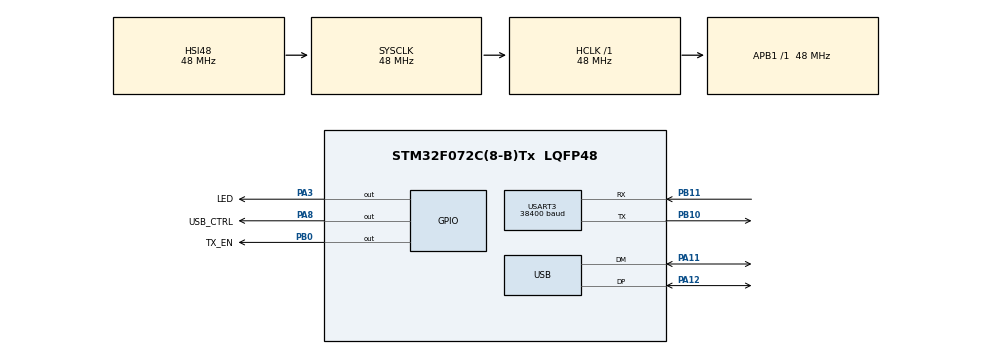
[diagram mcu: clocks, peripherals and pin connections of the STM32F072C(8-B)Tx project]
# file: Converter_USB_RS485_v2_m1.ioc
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Mcu.Family=STM32F0
USB_DEVICE.CLASS_NAME_FS=CDC
NVIC.USB_IRQn=true\:0\:0\:false\:false\:true\:false\:true
PB10.Mode=Asynchronous
USB_DEVICE.VirtualModeFS=Cdc_FS
USB_DEVICE.PID_CDC_FS=24853
PA11.Mode=Device
PB0.GPIO_Label=TX_EN
PB11.Signal=USART3_RX
RCC.SYSCLKSource=RCC_SYSCLKSOURCE_HSI48
ProjectManager.StackSize=0x400
USART3.VirtualMode-Asynchronous=VM_ASYNC
PA13.Signal=SYS_SWDIO
USB_DEVICE.MANUFACTURER_STRING=Forward
PA12.Signal=USB_DP
PA8.GPIO_Label=USB_CTRL
USART3.BaudRate=38400
PB11.Mode=Asynchronous
USB_DEVICE.VID=1003
ProjectManager.TargetToolchain=STM32CubeIDE
USB_DEVICE.PRODUCT_STRING_CDC_FS=Converter USB-RS485
NVIC.USART3_4_IRQn=true\:0\:0\:false\:false\:true\:true\:true
RCC.HCLKFreq_Value=48000000
VP_USB_DEVICE_VS_USB_DEVICE_CDC_FS.Mode=CDC_FS
RCC.AHBFreq_Value=48000000
PB10.Signal=USART3_TX
board=custom
USART3.WordLength=WORDLENGTH_9B
PA14.Mode=Serial_Wire
PA8.Signal=GPIO_Output
PA8.GPIO_ModeDefaultOutputPP=GPIO_MODE_OUTPUT_OD
PA13.Mode=Serial_Wire
Mcu.Name=STM32F072C(8-B)Tx
RCC.SYSCLKFreq_VALUE=48000000
Mcu.Package=LQFP48
PA12.Mode=Device
PA11.Signal=USB_DM
PA14.Signal=SYS_SWCLK
ProjectManager.HeapSize=0x200
RCC.APB1TimFreq_Value=48000000
RCC.APB1Freq_Value=48000000
PB0.Signal=GPIO_Output
USB_DEVICE.VirtualMode=Cdc
PA8.PinState=GPIO_PIN_SET
PA3.GPIO_Label=LED
PA3.Signal=GPIO_Output
USART3.Parity=PARITY_EVEN

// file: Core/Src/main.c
/* USER CODE BEGIN Header */
/**
  ******************************************************************************
  * @file           : main.c
  * @brief          : Main program body
  ******************************************************************************
  * @attention
  *
  * <h2><center>&copy; Copyright (c) 2024 STMicroelectronics.
  * All rights reserved.</center></h2>
  *
  * This software component is licensed by ST under BSD 3-Clause license,
  * the "License"; You may not use this file except in compliance with the
  * License. You may obtain a copy of the License at:
  *                        opensource.org/licenses/BSD-3-Clause
  *
  ******************************************************************************
  */
/* USER CODE END Header */
#include "main.h"
#include "usb_device.h"

/* USER CODE BEGIN Includes */

#include "protection.h"
#include "uart.h"
#include "usbd_cdc_if.h"
#include <string.h>

/* USER CODE END Includes */

UART_HandleTypeDef huart3;

/* USER CODE BEGIN PV */

extern exchange rx, tx;

/* USER CODE END PV */

void SystemClock_Config(void);
static void MX_GPIO_Init(void);
static void MX_USART3_UART_Init(void);

int main(void)
{

  /* MCU Configuration--------------------------------------------------------*/

  /* Reset of all peripherals, Initializes the Flash interface and the Systick. */
  HAL_Init();

  /* Configure the system clock */
  SystemClock_Config();

  /* Initialize all configured peripherals */
  MX_GPIO_Init();
  MX_USART3_UART_Init();
  MX_USB_DEVICE_Init();
  /* USER CODE BEGIN 2 */

  FlashReadoutProtection();

  LED_GPIO_Port->BSRR = LED_Pin;
  USB_CTRL_GPIO_Port->BSRR = USB_CTRL_Pin << 16;

  start_uart_resive();

  /* USER CODE END 2 */

  /* Infinite loop */
  /* USER CODE BEGIN WHILE */

  while (1)
  {
    if(tx.state == completed)
    {
      clean_obj(&tx);
      start_uart_resive();
    }
    if(rx.state == completed)
    {
      CDC_Transmit_FS(rx.buf, rx.buf_len);
      clean_obj(&rx);
    }

    /* USER CODE END WHILE */

  }
}

void SystemClock_Config(void)
{
  RCC_OscInitTypeDef RCC_OscInitStruct = {0};
  RCC_ClkInitTypeDef RCC_ClkInitStruct = {0};
  RCC_PeriphCLKInitTypeDef PeriphClkInit = {0};

  /** Initializes the RCC Oscillators according to the specified parameters
  * in the RCC_OscInitTypeDef structure.
  */
  RCC_OscInitStruct.OscillatorType = RCC_OSCILLATORTYPE_HSI48;
  RCC_OscInitStruct.HSI48State = RCC_HSI48_ON;
  RCC_OscInitStruct.PLL.PLLState = RCC_PLL_NONE;
  if (HAL_RCC_OscConfig(&RCC_OscInitStruct) != HAL_OK)
  {
    Error_Handler();
  }
  /** Initializes the CPU, AHB and APB buses clocks
  */
  RCC_ClkInitStruct.ClockType = RCC_CLOCKTYPE_HCLK|RCC_CLOCKTYPE_SYSCLK
                              |RCC_CLOCKTYPE_PCLK1;
  RCC_ClkInitStruct.SYSCLKSource = RCC_SYSCLKSOURCE_HSI48;
  RCC_ClkInitStruct.AHBCLKDivider = RCC_SYSCLK_DIV1;
  RCC_ClkInitStruct.APB1CLKDivider = RCC_HCLK_DIV1;

  if (HAL_RCC_ClockConfig(&RCC_ClkInitStruct, FLASH_LATENCY_1) != HAL_OK)
  {
    Error_Handler();
  }
  PeriphClkInit.PeriphClockSelection = RCC_PERIPHCLK_USB;
  PeriphClkInit.UsbClockSelection = RCC_USBCLKSOURCE_HSI48;

  if (HAL_RCCEx_PeriphCLKConfig(&PeriphClkInit) != HAL_OK)
  {
    Error_Handler();
  }
}

static void MX_USART3_UART_Init(void)
{

  huart3.Instance = USART3;
  huart3.Init.BaudRate = 38400;
  huart3.Init.WordLength = UART_WORDLENGTH_9B;
  huart3.Init.StopBits = UART_STOPBITS_1;
  huart3.Init.Parity = UART_PARITY_EVEN;
  huart3.Init.Mode = UART_MODE_TX_RX;
  huart3.Init.HwFlowCtl = UART_HWCONTROL_NONE;
  huart3.Init.OverSampling = UART_OVERSAMPLING_16;
  huart3.Init.OneBitSampling = UART_ONE_BIT_SAMPLE_DISABLE;
  huart3.AdvancedInit.AdvFeatureInit = UART_ADVFEATURE_NO_INIT;
  if (HAL_UART_Init(&huart3) != HAL_OK)
  {
    Error_Handler();
  }
  /* USER CODE BEGIN USART3_Init 2 */

  USART3->ICR |= USART_ICR_IDLECF | USART_ICR_TCCF;
  USART3->CR1 |= USART_CR1_RXNEIE | USART_CR1_IDLEIE | USART_CR1_TCIE;

  /* USER CODE END USART3_Init 2 */

}

static void MX_GPIO_Init(void)
{
  GPIO_InitTypeDef GPIO_InitStruct = {0};

  /* GPIO Ports Clock Enable */
  __HAL_RCC_GPIOA_CLK_ENABLE();
  __HAL_RCC_GPIOB_CLK_ENABLE();

  /*Configure GPIO pin Output Level */
  HAL_GPIO_WritePin(LED_GPIO_Port, LED_Pin, GPIO_PIN_RESET);

  /*Configure GPIO pin Output Level */
  HAL_GPIO_WritePin(TX_EN_GPIO_Port, TX_EN_Pin, GPIO_PIN_RESET);

  /*Configure GPIO pin Output Level */
  HAL_GPIO_WritePin(USB_CTRL_GPIO_Port, USB_CTRL_Pin, GPIO_PIN_SET);

  /*Configure GPIO pin : LED_Pin */
  GPIO_InitStruct.Pin = LED_Pin;
  GPIO_InitStruct.Mode = GPIO_MODE_OUTPUT_PP;
  GPIO_InitStruct.Pull = GPIO_NOPULL;
  GPIO_InitStruct.Speed = GPIO_SPEED_FREQ_LOW;
  HAL_GPIO_Init(LED_GPIO_Port, &GPIO_InitStruct);

  /*Configure GPIO pin : TX_EN_Pin */
  GPIO_InitStruct.Pin = TX_EN_Pin;
  GPIO_InitStruct.Mode = GPIO_MODE_OUTPUT_PP;
  GPIO_InitStruct.Pull = GPIO_NOPULL;
  GPIO_InitStruct.Speed = GPIO_SPEED_FREQ_LOW;
  HAL_GPIO_Init(TX_EN_GPIO_Port, &GPIO_InitStruct);

  /*Configure GPIO pin : USB_CTRL_Pin */
  GPIO_InitStruct.Pin = USB_CTRL_Pin;
  GPIO_InitStruct.Mode = GPIO_MODE_OUTPUT_OD;
  GPIO_InitStruct.Pull = GPIO_NOPULL;
  GPIO_InitStruct.Speed = GPIO_SPEED_FREQ_LOW;
  HAL_GPIO_Init(USB_CTRL_GPIO_Port, &GPIO_InitStruct);

}

void Error_Handler(void)
{
  __disable_irq();
  while (1)
  {
  }
}

/************************ (C) COPYRIGHT STMicroelectronics *****END OF FILE****/
